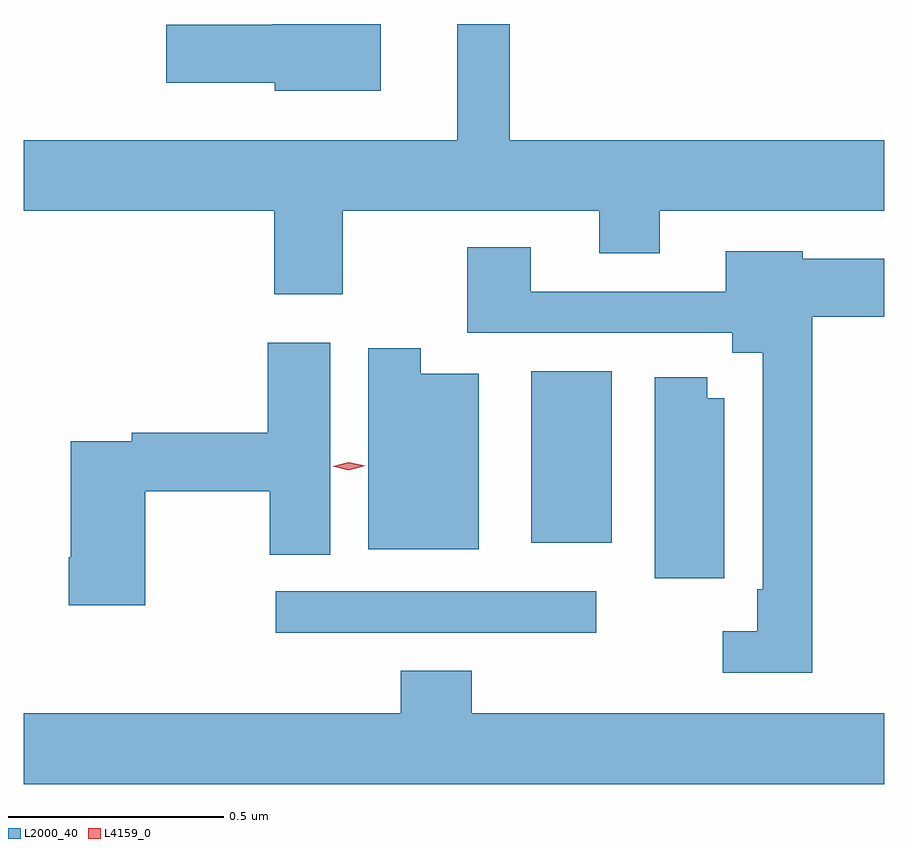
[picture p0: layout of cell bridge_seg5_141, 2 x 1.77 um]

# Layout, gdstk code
import gdstk
lib = gdstk.Library(unit=1e-6, precision=1e-09)
def R(c, l, rs):  # rectangles x0, y0, x1, y1
    for r in rs: c.add(gdstk.rectangle(r[:2], r[2:], *l))
def P(c, l, *ps):  # polygons
    for p in ps: c.add(gdstk.Polygon(p, *l))
L2000_40 = (2000, 40)
L4159_0 = (4159, 0)

bridge_seg5_141 = lib.new_cell('bridge_seg5_141')
R(bridge_seg5_141, L2000_40, [(357.843,846.456,358.588,846.552), (358.436,846.665,358.624,847.063)])
P(bridge_seg5_141, L2000_40, [(357.999,847.436),(358.595,847.436),(358.595,847.337),(358.735,847.337),(358.735,847.436),(359.257,847.436),(359.257,847.6),(358.387,847.6),(358.387,847.87),(358.265,847.87),(358.265,847.6),(357.257,847.6),(357.257,847.436),(357.839,847.436),(357.839,847.242),(357.999,847.242)],
  [(358.087,847.87),(357.836,847.87),(357.836,847.868),(357.588,847.868),(357.588,847.733),(357.84,847.733),(357.84,847.715),(358.087,847.715)],
  [(359.09,847.19),(359.257,847.19),(359.257,847.324),(359.067,847.324),(359.067,847.342),(358.889,847.342),(358.889,847.248),(358.435,847.248),(358.435,847.351),(358.288,847.351),(358.288,847.152),(358.904,847.152),(358.904,847.106),(358.974,847.106),(358.974,846.556),(358.962,846.556),(358.962,846.459),(358.881,846.459),(358.881,846.363),(359.09,846.363)],
  [(357.54,846.784),(357.829,846.784),(357.829,846.637),(357.97,846.637),(357.97,847.129),(357.824,847.129),(357.824,846.92),(357.508,846.92),(357.508,846.9),(357.367,846.9),(357.367,846.631),(357.362,846.631),(357.362,846.519),(357.54,846.519)],
  [(358.315,847.057),(358.18,847.057),(358.18,847.117),(358.058,847.117),(358.058,846.65),(358.315,846.65)],
  [(358.885,847),(358.846,847),(358.846,847.049),(358.724,847.049),(358.724,846.582),(358.885,846.582)],
  [(359.257,846.268),(358.298,846.268),(358.298,846.367),(358.133,846.367),(358.133,846.268),(357.257,846.268),(357.257,846.104),(359.257,846.104)])
P(bridge_seg5_141, L4159_0, [(358.013,846.833),(357.975,846.842),(357.975,846.842),(357.975,846.842),(358.013,846.852),(358.051,846.843),(358.051,846.843),(358.051,846.843)])

lib.write_gds('bridge_seg5_141.gds')
